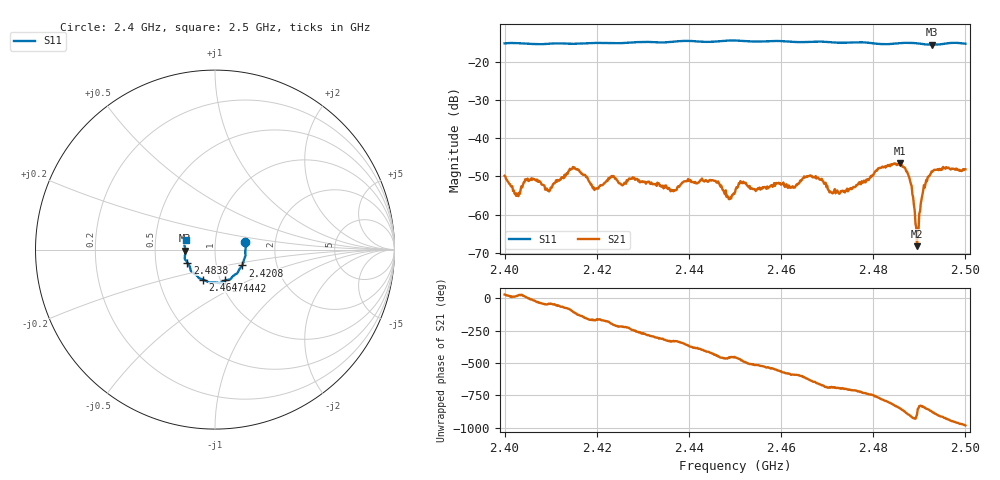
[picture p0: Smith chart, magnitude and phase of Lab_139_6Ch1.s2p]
# Hz S RI R 50
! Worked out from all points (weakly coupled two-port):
!   601 points, 2.4 GHz to 2.5 GHz, reference 50 ohm
!   highest |S21| = -46.52 dB at 2.4858 GHz (marker M1); lowest = -68.2 dB at 2.4895 GHz (marker M2)
!   lowest |S11| = -15.6 dB at 2.4928 GHz (marker M3), VSWR 1.40, Z = 35.8 - j0.394 ohm
!   |S11| at or under -10 dB: start of sweep to end of sweep
!   S12 and S22 are empty: the file has one direction only
!   S11 on the Smith chart (normalised r, x): 2.4 GHz: 1.40, +0.12; 2.4208 GHz: 1.33, -0.24; 2.4442 GHz: 1.05, -0.37; 2.4647 GHz: 0.83, -0.29; 2.4838 GHz: 0.73, -0.11; 2.5 GHz: 0.72, +0.08
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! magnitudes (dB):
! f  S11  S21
! 2.4 GHz  -15.2  -49.8
! 2.4028 GHz  -15.2  -55.0
! 2.405 GHz  -15.3  -50.6
! 2.4093 GHz  -15.4  -53.7
! 2.4147 GHz  -15.3  -47.9
! 2.4167 GHz  -15.3  -49.3
! 2.4208 GHz  -15.1  -52.3
! 2.4233 GHz  -15.2  -49.9
! 2.4333 GHz  -15.0  -51.9
! 2.4442 GHz  -14.8  -51.4
! 2.45 GHz  -14.5  -54.2
! 2.4647 GHz  -14.9  -50.6
! 2.4667 GHz  -14.8  -49.9
! 2.473 GHz  -15.1  -53.8
! 2.4833 GHz  -15.4  -47.3
! 2.4838 GHz  -15.4  -46.8
! 2.4858 GHz  -15.2  -46.5
! 2.4878 GHz  -15.1  -50.3
! 2.4895 GHz  -15.2  -68.2
! 2.491 GHz  -15.4  -52.3
! 2.4928 GHz  -15.6  -48.7
! 2.5 GHz  -15.3  -48.1
